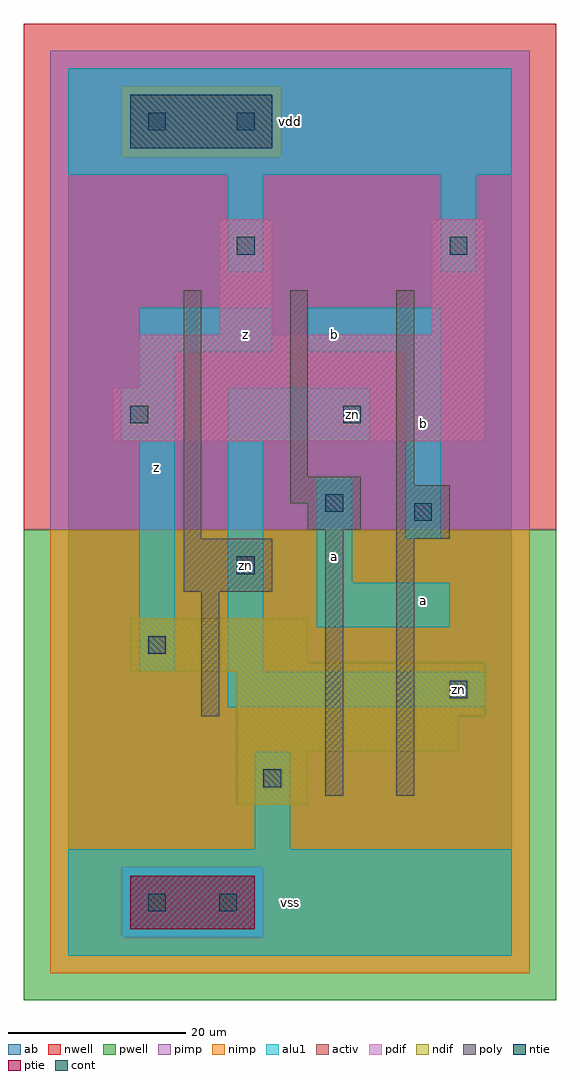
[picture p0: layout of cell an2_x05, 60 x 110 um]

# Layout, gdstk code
import gdstk
lib = gdstk.Library(unit=1e-6, precision=1e-09)
def R(c, l, rs):  # rectangles x0, y0, x1, y1
    for r in rs: c.add(gdstk.rectangle(r[:2], r[2:], *l))
ndif = (3, 0)
pdif = (4, 0)
ntie = (5, 0)
ptie = (6, 0)
cont = (25, 0)
pwell = (41, 0)
nwell = (42, 0)
activ = (43, 0)
pimp = (44, 0)
nimp = (45, 0)
poly = (46, 0)
alu1 = (49, 0)
ab = (63, 0)

an2_x05 = lib.new_cell('an2_x05')
R(an2_x05, ndif, [(19,17,27,23), (19,23,44,27), (19,27,47,32), (7,32,47,33), (7,33,27,38)])
R(an2_x05, pdif, [(5,58,47,64), (8,64,47,70), (17,70,23,83), (41,70,47,83)])
R(an2_x05, ntie, [(7,91,23,97)])
R(an2_x05, ptie, [(7,3,21,9)])
R(an2_x05, cont, [(9,5,11,7), (17,5,19,7), (22,19,24,21), (43,29,45,31), (9,34,11,36), (19,43,21,45), (39,49,41,51), (29,50,31,52), (7,60,9,62), (31,60,33,62), (19,79,21,81), (43,79,45,81), (9,93,11,95), (19,93,21,95)])
R(an2_x05, pwell, [(-5,-5,55,48)])
R(an2_x05, nwell, [(-5,48,55,105)])
R(an2_x05, activ, [(7,3,21,9), (19,17,27,23), (19,23,44,27), (19,27,47,32), (7,32,47,33), (7,33,27,38), (5,58,47,64), (8,64,47,70), (17,70,23,83), (41,70,47,83), (7,91,23,97)])
R(an2_x05, pimp, [(6,2,22,10), (-2,48,52,90), (-2,90,6,98), (24,90,52,98), (-2,98,52,102)])
R(an2_x05, nimp, [(-2,-2,52,2), (-2,2,6,10), (22,2,52,10), (-2,10,52,48), (6,90,24,98)])
R(an2_x05, poly, [(29,18,31,48), (37,18,39,47), (15,27,17,41), (13,41,23,47), (13,47,15,75), (37,47,43,53), (27,48,33,51), (25,51,33,54), (37,53,39,75), (25,54,27,75)])
R(an2_x05, alu1, [(0,0,50,12), (21,12,25,23), (18,28,47,32), (8,32,12,58), (18,32,22,58), (28,37,43,42), (28,42,32,54), (38,47,42,68), (6,58,12,64), (18,58,34,64), (8,64,12,68), (8,68,23,73), (27,68,42,73), (18,77,22,88), (42,77,46,88), (0,88,50,100)])
R(an2_x05, ab, [(0,0,50,100)])
an2_x05.add(gdstk.Label('zn', (20,44), layer=49, texttype=0))
an2_x05.add(gdstk.Label('zn', (44,30), layer=49, texttype=0))
an2_x05.add(gdstk.Label('zn', (32,61), layer=49, texttype=0))
an2_x05.add(gdstk.Label('z', (10,55), layer=49, texttype=0))
an2_x05.add(gdstk.Label('z', (20,70), layer=49, texttype=0))
an2_x05.add(gdstk.Label('vss', (25,6), layer=49, texttype=0))
an2_x05.add(gdstk.Label('a', (30,45), layer=49, texttype=0))
an2_x05.add(gdstk.Label('b', (30,70), layer=49, texttype=0))
an2_x05.add(gdstk.Label('vdd', (25,94), layer=49, texttype=0))
an2_x05.add(gdstk.Label('a', (40,40), layer=49, texttype=0))
an2_x05.add(gdstk.Label('b', (40,60), layer=49, texttype=0))

lib.write_gds('an2_x05.gds')
